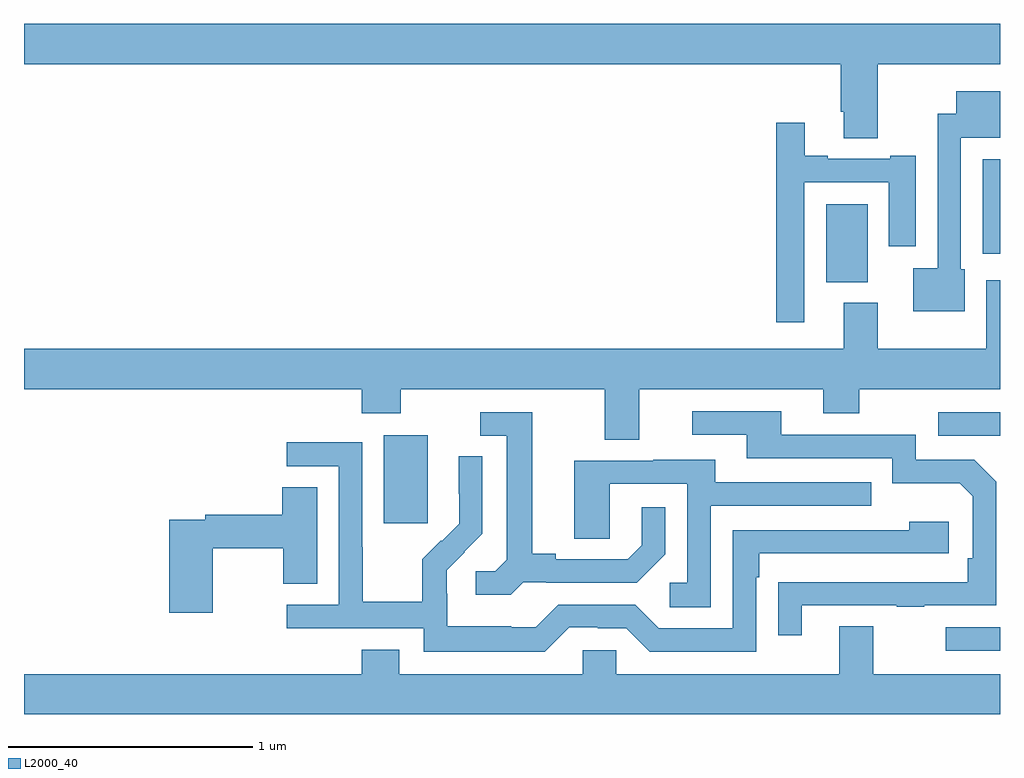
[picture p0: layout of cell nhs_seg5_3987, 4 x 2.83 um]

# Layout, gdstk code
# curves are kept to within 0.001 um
import gdstk
lib = gdstk.Library(unit=1e-6, precision=1e-09)
def R(c, l, rs):  # rectangles x0, y0, x1, y1
    for r in rs: c.add(gdstk.rectangle(r[:2], r[2:], *l))
def P(c, l, *ps):  # polygons
    for p in ps: c.add(gdstk.Polygon(p, *l))
L2000_40 = (2000, 40)

nhs_seg5_3987 = lib.new_cell('nhs_seg5_3987')
R(nhs_seg5_3987, L2000_40, [(348.777,871.671,349,871.767), (346.475,872.193,346.654,872.554), (348.747,872.553,349,872.649), (348.287,873.182,348.457,873.502), (348.929,873.299,349,873.685)])
P(nhs_seg5_3987, L2000_40, [(348.499,874.076),(349,874.076),(349,874.24),(345,874.24),(345,874.076),(348.347,874.076),(348.347,873.88),(348.359,873.88),(348.359,873.772),(348.499,873.772)],
  [(348.856,873.234),(348.84,873.234),(348.84,873.773),(349,873.773),(349,873.964),(348.821,873.964),(348.821,873.872),(348.744,873.872),(348.744,873.238),(348.644,873.238),(348.644,873.062),(348.856,873.062)],
  [(348.198,873.591),(348.545,873.591),(348.545,873.33),(348.655,873.33),(348.655,873.7),(348.551,873.7),(348.551,873.687),(348.295,873.687),(348.295,873.7),(348.199,873.7),(348.199,873.835),(348.082,873.835),(348.082,873.018),(348.198,873.018)],
  [(347.521,872.744),(348.275,872.744),(348.275,872.645),(348.423,872.645),(348.423,872.744),(349,872.744),(349,873.19),(348.944,873.19),(348.944,872.908),(348.499,872.908),(348.499,873.097),(348.359,873.097),(348.359,872.908),(345,872.908),(345,872.744),(346.385,872.744),(346.385,872.645),(346.545,872.645),(346.545,872.744),(347.381,872.744),(347.381,872.536),(347.521,872.536)],
  [(348.187,871.857),(348.577,871.857),(348.577,871.852),(348.689,871.852),(348.689,871.857),(348.984,871.857),(348.984,872.364),(348.894,872.454),(348.654,872.454),(348.654,872.556),(348.103,872.556),(348.103,872.652),(347.739,872.652),(347.739,872.556),(347.963,872.556),(347.963,872.46),(348.558,872.46),(348.558,872.357),(348.835,872.357),(348.888,872.304),(348.888,872.05),(348.868,872.05),(348.868,871.953),(348.091,871.952),(348.091,871.734),(348.187,871.734)],
  [(347.046,871.953),(347.14,871.953),(347.14,871.95),(347.512,871.95),(347.628,872.066),(347.628,872.26),(347.531,872.26),(347.531,872.103),(347.474,872.046),(347.179,872.046),(347.179,872.069),(347.083,872.069),(347.083,872.649),(346.869,872.649),(346.869,872.553),(346.979,872.553),(346.979,872.045),(346.932,871.998),(346.851,871.998),(346.851,871.901),(346.994,871.901)],
  [(347.235,871.767),(347.351,871.767),(347.351,871.764),(347.469,871.764),(347.565,871.668),(348,871.668),(348,871.973),(348.013,871.973),(348.013,872.07),(348.79,872.07),(348.79,872.2),(348.629,872.2),(348.629,872.166),(347.904,872.166),(347.904,871.764),(347.601,871.764),(347.505,871.86),(347.19,871.86),(347.097,871.767),(346.997,871.767),(346.997,871.771),(346.734,871.771),(346.734,871.905),(346.732,871.905),(346.732,872.002),(346.878,872.15),(346.878,872.468),(346.782,872.468),(346.782,872.314),(346.784,872.314),(346.784,872.192),(346.713,872.121),(346.71,872.124),(346.633,872.047),(346.633,871.873),(346.389,871.873),(346.389,872.096),(346.386,872.096),(346.386,872.526),(346.077,872.526),(346.077,872.427),(346.29,872.427),(346.29,871.86),(346.077,871.86),(346.077,871.764),(346.638,871.764),(346.638,871.667),(347.135,871.667)],
  [(347.814,872.265),(348.473,872.265),(348.473,872.361),(347.833,872.361),(347.833,872.455),(347.579,872.455),(347.579,872.451),(347.255,872.451),(347.255,872.131),(347.4,872.131),(347.4,872.355),(347.718,872.355),(347.718,871.95),(347.646,871.95),(347.646,871.849),(347.814,871.849)],
  [(345.774,872.092),(346.063,872.092),(346.063,871.945),(346.201,871.945),(346.201,872.342),(346.058,872.342),(346.058,872.228),(345.742,872.228),(345.742,872.208),(345.596,872.208),(345.596,871.827),(345.774,871.827)],
  [(349,871.576),(348.481,871.576),(348.481,871.771),(348.341,871.771),(348.341,871.576),(347.427,871.576),(347.427,871.674),(347.289,871.674),(347.289,871.576),(346.537,871.576),(346.537,871.675),(346.385,871.675),(346.385,871.576),(345,871.576),(345,871.412),(349,871.412)])

lib.write_gds('nhs_seg5_3987.gds')
